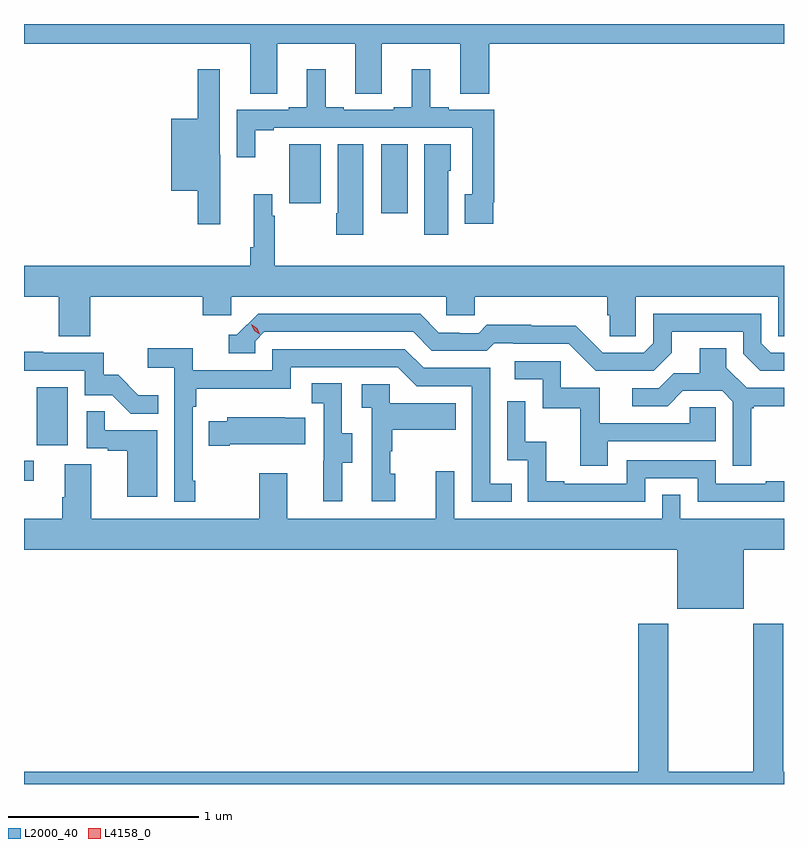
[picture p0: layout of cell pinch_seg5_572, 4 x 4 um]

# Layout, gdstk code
import gdstk
lib = gdstk.Library(unit=1e-6, precision=1e-09)
def R(c, l, rs):  # rectangles x0, y0, x1, y1
    for r in rs: c.add(gdstk.rectangle(r[:2], r[2:], *l))
def P(c, l, *ps):  # polygons
    for p in ps: c.add(gdstk.Polygon(p, *l))
L2000_40 = (2000, 40)
L4158_0 = (4158, 0)

pinch_seg5_572 = lib.new_cell('pinch_seg5_572')
R(pinch_seg5_572, L2000_40, [(1116.523,870.444,1116.574,870.549), (1116.59,870.63,1116.754,870.937), (1118.402,871.851,1118.542,872.216), (1117.919,871.905,1118.086,872.216)])
P(pinch_seg5_572, L2000_40, [(1117.855,872.744),(1118.267,872.744),(1118.267,872.482),(1118.407,872.482),(1118.407,872.744),(1118.819,872.744),(1118.819,872.482),(1118.972,872.482),(1118.972,872.744),(1120.523,872.744),(1120.523,872.848),(1116.523,872.848),(1116.523,872.744),(1117.715,872.744),(1117.715,872.482),(1117.855,872.482)],
  [(1118.992,871.909),(1118.999,871.909),(1118.999,872.397),(1118.758,872.397),(1118.758,872.41),(1118.662,872.41),(1118.662,872.611),(1118.564,872.611),(1118.564,872.41),(1118.468,872.41),(1118.468,872.397),(1118.206,872.397),(1118.206,872.41),(1118.11,872.41),(1118.11,872.611),(1118.012,872.611),(1118.012,872.41),(1117.916,872.41),(1117.916,872.397),(1117.644,872.397),(1117.644,872.148),(1117.741,872.148),(1117.741,872.289),(1117.837,872.289),(1117.837,872.301),(1118.883,872.301),(1118.883,871.953),(1118.843,871.953),(1118.843,871.797),(1118.992,871.797)],
  [(1117.556,872.16),(1117.554,872.16),(1117.554,872.611),(1117.438,872.611),(1117.438,872.35),(1117.298,872.35),(1117.298,871.97),(1117.438,871.97),(1117.438,871.794),(1117.556,871.794)],
  [(1118.308,872.216),(1118.174,872.216),(1118.174,871.852),(1118.167,871.852),(1118.167,871.74),(1118.308,871.74)],
  [(1118.755,872.076),(1118.77,872.076),(1118.77,872.216),(1118.63,872.216),(1118.63,871.74),(1118.755,871.74)],
  [(1116.872,871.412),(1117.463,871.412),(1117.463,871.314),(1117.614,871.314),(1117.614,871.412),(1118.745,871.412),(1118.745,871.314),(1118.895,871.314),(1118.895,871.412),(1119.593,871.412),(1119.593,871.314),(1119.607,871.314),(1119.607,871.204),(1119.744,871.204),(1119.744,871.412),(1120.494,871.412),(1120.494,871.204),(1120.523,871.204),(1120.523,871.576),(1117.843,871.576),(1117.843,871.838),(1117.83,871.838),(1117.83,871.951),(1117.733,871.951),(1117.733,871.672),(1117.714,871.672),(1117.714,871.576),(1116.523,871.576),(1116.523,871.412),(1116.707,871.412),(1116.707,871.204),(1116.872,871.204)],
  [(1119.931,871.117),(1119.931,871.227),(1120.308,871.227),(1120.308,871.113),(1120.398,871.023),(1120.523,871.023),(1120.523,871.119),(1120.452,871.119),(1120.404,871.167),(1120.404,871.323),(1119.834,871.323),(1119.834,871.167),(1119.786,871.119),(1119.57,871.119),(1119.428,871.261),(1119.192,871.261),(1119.192,871.264),(1118.959,871.264),(1118.917,871.221),(1118.814,871.221),(1118.814,871.224),(1118.707,871.224),(1118.608,871.323),(1117.755,871.323),(1117.644,871.212),(1117.601,871.212),(1117.601,871.116),(1117.74,871.116),(1117.74,871.179),(1117.788,871.227),(1118.571,871.227),(1118.67,871.128),(1118.959,871.128),(1118.998,871.167),(1119.097,871.167),(1119.097,871.164),(1119.39,871.164),(1119.531,871.023),(1119.837,871.023)],
  [(1117.423,870.445),(1117.41,870.445),(1117.41,870.833),(1117.43,870.833),(1117.43,870.929),(1117.926,870.929),(1117.926,871.041),(1118.49,871.041),(1118.589,870.942),(1118.88,870.942),(1118.88,870.333),(1119.089,870.333),(1119.089,870.429),(1118.976,870.429),(1118.976,871.038),(1118.626,871.038),(1118.527,871.137),(1117.83,871.137),(1117.83,871.026),(1117.412,871.026),(1117.412,871.142),(1117.173,871.142),(1117.173,871.04),(1117.314,871.04),(1117.314,870.333),(1117.423,870.333)],
  [(1120.351,870.825),(1120.363,870.825),(1120.363,870.836),(1120.523,870.836),(1120.523,870.933),(1120.326,870.933),(1120.219,871.04),(1120.219,871.142),(1120.079,871.142),(1120.079,871.01),(1119.944,871.01),(1119.864,870.93),(1119.723,870.93),(1119.723,870.837),(1119.91,870.837),(1119.991,870.918),(1120.197,870.918),(1120.254,870.861),(1120.254,870.522),(1120.351,870.522)],
  [(1117.229,870.895),(1117.125,870.895),(1117.018,871.002),(1116.942,871.002),(1116.942,871.119),(1116.623,871.119),(1116.623,871.124),(1116.523,871.124),(1116.523,871.023),(1116.843,871.023),(1116.843,870.894),(1116.987,870.894),(1117.085,870.796),(1117.229,870.796)],
  [(1119.595,870.651),(1120.164,870.651),(1120.164,870.831),(1120.027,870.831),(1120.027,870.747),(1119.553,870.747),(1119.553,870.933),(1119.348,870.933),(1119.348,871.074),(1119.105,871.074),(1119.105,870.978),(1119.252,870.978),(1119.252,870.825),(1119.451,870.825),(1119.451,870.522),(1119.595,870.522)],
  [(1118.197,870.538),(1118.251,870.538),(1118.251,870.693),(1118.196,870.693),(1118.196,870.956),(1118.037,870.956),(1118.037,870.853),(1118.1,870.853),(1118.1,870.549),(1118.099,870.549),(1118.099,870.336),(1118.197,870.336)],
  [(1118.476,870.48),(1118.451,870.48),(1118.451,870.599),(1118.461,870.599),(1118.461,870.713),(1118.795,870.713),(1118.795,870.853),(1118.448,870.853),(1118.448,870.951),(1118.301,870.951),(1118.301,870.827),(1118.352,870.827),(1118.352,870.336),(1118.476,870.336)],
  [(1119.792,870.456),(1120.068,870.456),(1120.068,870.333),(1120.523,870.333),(1120.523,870.442),(1120.427,870.442),(1120.427,870.429),(1120.164,870.429),(1120.164,870.552),(1119.696,870.552),(1119.696,870.429),(1119.367,870.429),(1119.367,870.442),(1119.272,870.442),(1119.272,870.65),(1119.162,870.65),(1119.162,870.862),(1119.066,870.862),(1119.066,870.552),(1119.174,870.552),(1119.174,870.333),(1119.792,870.333)],
  [(1117.225,870.711),(1116.947,870.711),(1116.947,870.809),(1116.852,870.809),(1116.852,870.615),(1116.963,870.615),(1116.963,870.603),(1117.067,870.603),(1117.067,870.36),(1117.225,870.36)],
  [(1117.606,870.635),(1118.003,870.635),(1118.003,870.775),(1117.895,870.775),(1117.895,870.778),(1117.593,870.778),(1117.593,870.757),(1117.495,870.757),(1117.495,870.628),(1117.606,870.628)],
  [(1120.312,870.08),(1120.523,870.08),(1120.523,870.244),(1119.978,870.244),(1119.978,870.371),(1119.882,870.371),(1119.882,870.244),(1118.787,870.244),(1118.787,870.493),(1118.69,870.493),(1118.69,870.244),(1117.909,870.244),(1117.909,870.484),(1117.762,870.484),(1117.762,870.244),(1116.877,870.244),(1116.877,870.53),(1116.737,870.53),(1116.737,870.356),(1116.725,870.356),(1116.725,870.244),(1116.523,870.244),(1116.523,870.08),(1119.962,870.08),(1119.962,869.771),(1120.312,869.771)],
  [(1120.523,868.912),(1120.52,868.912),(1120.52,869.692),(1120.36,869.692),(1120.36,868.912),(1119.915,868.912),(1119.915,869.692),(1119.755,869.692),(1119.755,868.912),(1116.523,868.912),(1116.523,868.848),(1120.523,868.848)])
P(pinch_seg5_572, L4158_0, [(1117.765,871.214),(1117.734,871.234),(1117.719,871.267),(1117.719,871.267),(1117.719,871.267),(1117.75,871.247),(1117.765,871.214),(1117.765,871.214)])

lib.write_gds('pinch_seg5_572.gds')
